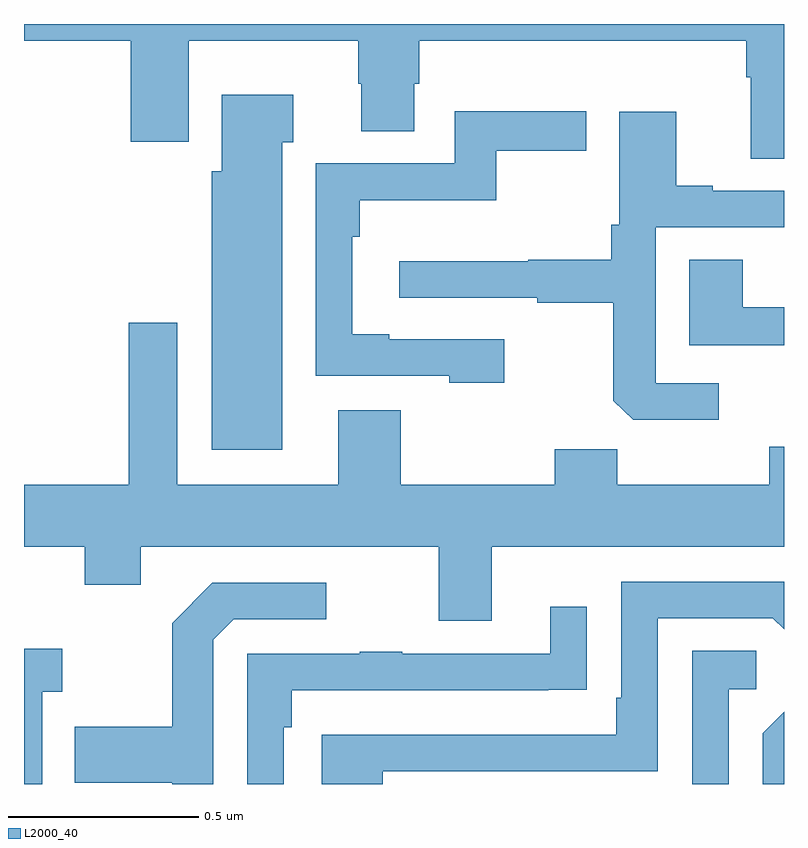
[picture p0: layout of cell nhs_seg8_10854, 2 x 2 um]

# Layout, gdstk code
import gdstk
lib = gdstk.Library(unit=1e-6, precision=1e-09)
def P(c, l, *ps):  # polygons
    for p in ps: c.add(gdstk.Polygon(p, *l))
L2000_40 = (2000, 40)

nhs_seg8_10854 = lib.new_cell('nhs_seg8_10854')
P(nhs_seg8_10854, L2000_40, [(257,1093.9),(255,1093.9),(255,1093.856),(255.281,1093.856),(255.281,1093.59),(255.433,1093.59),(255.433,1093.856),(255.88,1093.856),(255.88,1093.743),(255.887,1093.743),(255.887,1093.618),(256.027,1093.618),(256.027,1093.743),(256.04,1093.743),(256.04,1093.856),(256.901,1093.856),(256.901,1093.76),(256.913,1093.76),(256.913,1093.546),(257,1093.546)],
  [(255.679,1093.589),(255.709,1093.589),(255.709,1093.714),(255.521,1093.714),(255.521,1093.512),(255.494,1093.512),(255.494,1092.779),(255.679,1092.779)],
  [(256.264,1093.071),(255.961,1093.071),(255.961,1093.084),(255.864,1093.084),(255.864,1093.34),(255.884,1093.34),(255.884,1093.436),(256.243,1093.436),(256.243,1093.567),(256.48,1093.567),(256.48,1093.67),(256.134,1093.67),(256.134,1093.533),(255.768,1093.533),(255.768,1092.975),(256.119,1092.975),(256.119,1092.956),(256.264,1092.956)],
  [(256.828,1092.954),(256.662,1092.954),(256.662,1093.365),(257,1093.365),(257,1093.461),(256.813,1093.461),(256.813,1093.474),(256.717,1093.474),(256.717,1093.669),(256.566,1093.669),(256.566,1093.372),(256.546,1093.372),(256.546,1093.28),(256.327,1093.28),(256.327,1093.276),(255.987,1093.276),(255.987,1093.179),(256.351,1093.179),(256.351,1093.167),(256.551,1093.167),(256.551,1092.909),(256.603,1092.858),(256.828,1092.858)],
  [(257,1093.155),(256.891,1093.155),(256.891,1093.28),(256.751,1093.28),(256.751,1093.054),(257,1093.054)],
  [(257,1092.787),(256.961,1092.787),(256.961,1092.688),(256.561,1092.688),(256.561,1092.781),(256.397,1092.781),(256.397,1092.688),(255.991,1092.688),(255.991,1092.883),(255.827,1092.883),(255.827,1092.688),(255.403,1092.688),(255.403,1093.114),(255.275,1093.114),(255.275,1092.688),(255,1092.688),(255,1092.524),(255.16,1092.524),(255.16,1092.425),(255.307,1092.425),(255.307,1092.524),(256.091,1092.524),(256.091,1092.33),(256.231,1092.33),(256.231,1092.524),(257,1092.524)],
  [(255.944,1091.934),(256.668,1091.934),(256.668,1092.336),(256.971,1092.336),(257,1092.307),(257,1092.432),(256.572,1092.432),(256.572,1092.127),(256.559,1092.127),(256.559,1092.03),(255.783,1092.03),(255.783,1091.9),(255.944,1091.9)],
  [(255.498,1092.279),(255.552,1092.333),(255.796,1092.333),(255.796,1092.429),(255.495,1092.429),(255.39,1092.323),(255.39,1092.051),(255.133,1092.051),(255.133,1091.903),(255.39,1091.903),(255.39,1091.9),(255.498,1091.9)],
  [(255.684,1092.05),(255.704,1092.05),(255.704,1092.147),(256.379,1092.147),(256.379,1092.148),(256.481,1092.148),(256.481,1092.367),(256.385,1092.367),(256.385,1092.243),(255.995,1092.243),(255.995,1092.248),(255.883,1092.248),(255.883,1092.243),(255.588,1092.243),(255.588,1091.9),(255.684,1091.9)],
  [(255.048,1092.143),(255.1,1092.143),(255.1,1092.256),(255,1092.256),(255,1091.9),(255.048,1091.9)],
  [(256.854,1092.15),(256.927,1092.15),(256.927,1092.251),(256.758,1092.251),(256.758,1091.9),(256.854,1091.9)],
  [(257,1092.09),(256.944,1092.034),(256.944,1091.9),(257,1091.9)])

lib.write_gds('nhs_seg8_10854.gds')
